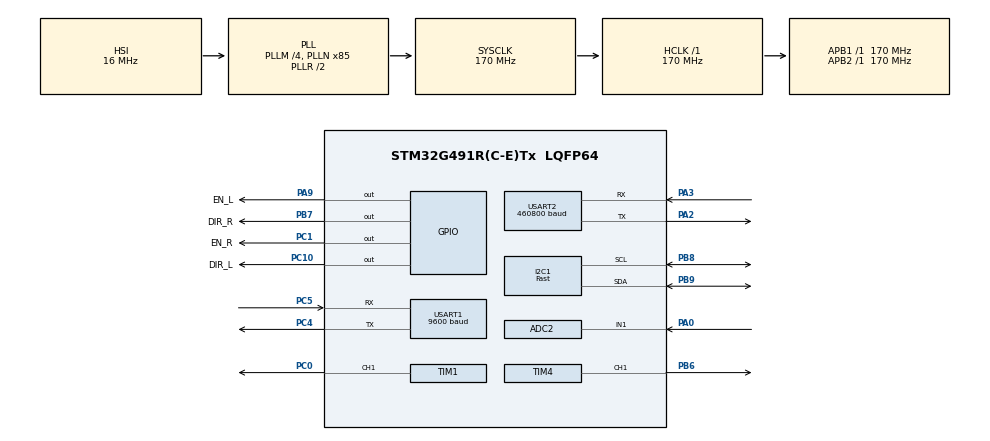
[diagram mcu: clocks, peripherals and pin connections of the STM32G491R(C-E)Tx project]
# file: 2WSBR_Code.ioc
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ADC2.Channel-0\#ChannelRegularConversion=ADC_CHANNEL_1
ADC2.NbrOfConversionFlag=1
ADC2.OffsetNumber-0\#ChannelRegularConversion=ADC_OFFSET_NONE
ADC2.Rank-0\#ChannelRegularConversion=1
ADC2.SamplingTime-0\#ChannelRegularConversion=ADC_SAMPLETIME_24CYCLES_5
Dma.Request0=USART2_TX
Dma.USART2_TX.0.Direction=DMA_MEMORY_TO_PERIPH
Dma.USART2_TX.0.EventEnable=DISABLE
Dma.USART2_TX.0.Instance=DMA1_Channel1
Dma.USART2_TX.0.MemDataAlignment=DMA_MDATAALIGN_BYTE
Dma.USART2_TX.0.MemInc=DMA_MINC_ENABLE
Dma.USART2_TX.0.Mode=DMA_NORMAL
Dma.USART2_TX.0.PeriphDataAlignment=DMA_PDATAALIGN_BYTE
Dma.USART2_TX.0.PeriphInc=DMA_PINC_DISABLE
Dma.USART2_TX.0.Polarity=HAL_DMAMUX_REQ_GEN_RISING
Dma.USART2_TX.0.Priority=DMA_PRIORITY_LOW
Dma.USART2_TX.0.RequestNumber=1
Dma.USART2_TX.0.SignalID=NONE
Dma.USART2_TX.0.SyncEnable=DISABLE
Dma.USART2_TX.0.SyncPolarity=HAL_DMAMUX_SYNC_NO_EVENT
Dma.USART2_TX.0.SyncRequestNumber=1
Dma.USART2_TX.0.SyncSignalID=NONE
I2C1.I2C_Speed_Mode=I2C_Fast
I2C1.Timing=0x40621236
Mcu.Family=STM32G4
Mcu.Name=STM32G491R(C-E)Tx
Mcu.Package=LQFP64
NVIC.DMA1_Channel1_IRQn=true\:0\:0\:false\:false\:true\:false\:true\:true
NVIC.PriorityGroup=NVIC_PRIORITYGROUP_4
PA0.Signal=SharedAnalog_PA0
PA2.Mode=Asynchronous
PA2.Signal=USART2_TX
PA3.Mode=Asynchronous
PA3.Signal=USART2_RX
PA9.GPIO_Label=EN_L
PA9.Signal=GPIO_Output
PB6.Signal=S_TIM4_CH1
PB7.GPIO_Label=DIR_R
PB7.Signal=GPIO_Output
PB8-BOOT0.Mode=I2C
PB8-BOOT0.Signal=I2C1_SCL
PB9.Mode=I2C
PB9.Signal=I2C1_SDA
PC0.Signal=S_TIM1_CH1
PC1.GPIO_Label=EN_R
PC1.Signal=GPIO_Output
PC10.GPIO_Label=DIR_L
PC10.Signal=GPIO_Output
PC4.Mode=Asynchronous
PC4.Signal=USART1_TX
PC5.Mode=Asynchronous
PC5.Signal=USART1_RX
ProjectManager.HeapSize=0x200
ProjectManager.StackSize=0x400
ProjectManager.TargetToolchain=STM32CubeIDE
RCC.ADC12Freq_Value=170000000
RCC.ADC345Freq_Value=170000000
RCC.AHBFreq_Value=170000000
RCC.APB1Freq_Value=170000000
RCC.APB1TimFreq_Value=170000000
RCC.APB2Freq_Value=170000000
RCC.APB2TimFreq_Value=170000000
RCC.CortexFreq_Value=170000000
RCC.EXTERNAL_CLOCK_VALUE=12288000
RCC.HCLKFreq_Value=170000000
RCC.HSE_VALUE=8000000
RCC.HSI48_VALUE=48000000
RCC.HSI_VALUE=16000000
RCC.LSE_VALUE=32768
RCC.PLLM=RCC_PLLM_DIV4
RCC.PLLN=85
RCC.SYSCLKFreq_VALUE=170000000
RCC.SYSCLKSource=RCC_SYSCLKSOURCE_PLLCLK
RCC.VCOOutputFreq_Value=340000000
SH.S_TIM1_CH1.0=TIM1_CH1,PWM Generation1 CH1
SH.S_TIM4_CH1.0=TIM4_CH1,PWM Generation1 CH1
SH.SharedAnalog_PA0.0=ADC1_IN1
SH.SharedAnalog_PA0.1=ADC2_IN1,IN1-Single-Ended
TIM1.Channel-PWM\ Generation1\ CH1=TIM_CHANNEL_1
TIM1.PeriodNoDither=999
TIM1.Prescaler=169
TIM1.PulseNoDither_1=500
TIM4.Channel-PWM\ Generation1\ CH1=TIM_CHANNEL_1
TIM4.PeriodNoDither=999
TIM4.Prescaler=169
TIM4.PulseNoDither_1=500
TIM6.Prescaler=169
USART1.BaudRate=9600
USART1.VirtualMode-Asynchronous=VM_ASYNC
USART2.BaudRate=460800
USART2.VirtualMode-Asynchronous=VM_ASYNC
VP_SYS_VS_DBSignals.Mode=DisableDeadBatterySignals
VP_TIM1_VS_ClockSourceINT.Mode=Internal
VP_TIM4_VS_ClockSourceINT.Mode=Internal
VP_TIM6_VS_ClockSourceINT.Mode=Enable_Timer
board=custom

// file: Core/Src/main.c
/* USER CODE BEGIN Header */
/**
  ******************************************************************************
  * @file           : main.c
  * @brief          : Main program body
  ******************************************************************************
  */
/* USER CODE END Header */
#include "main.h"
#include "adc.h"
#include "dma.h"
#include "i2c.h"
#include "tim.h"
#include "usart.h"
#include "gpio.h"
#include <stdlib.h>

/* USER CODE BEGIN Includes */
#include <math.h>
#include <stdio.h>
/* USER CODE END Includes */

/* USER CODE BEGIN PD */
/* MPU6050 Configuration */
#define MPU6050_ADDR       (0x68 << 1)
#define WHO_AM_I_REG       0x75
#define PWR_MGMT_1_REG     0x6B
#define ACCEL_XOUT_H_REG   0x3B

/* Operational Modes */
#define MODE_BALANCING      0
#define MODE_STEP_RESPONSE  1
#define MODE_SWEEP          2
#define MODE_FALL_TEST      3

/* Filter & Control Constants */
#define ALPHA           0.985f   // Optimized to prevent scale-factor drift leaning
#define DT              0.005f
#define RAD_TO_DEG      57.29577951f
#define ACCEL_SCALE     16384.0f
#define GYRO_SCALE      131.0f
#define DIVIDER_RATIO   6.0f
/* USER CODE END PD */

/* USER CODE BEGIN PV */
/* Sensor Data Buffers */
uint8_t rx_data[14];
int16_t raw_acc_x, raw_acc_y, raw_acc_z;
int16_t raw_gyro_x, raw_gyro_y, raw_gyro_z;
float estimated_pitch = 0.0f;
static float gyro_bias_x = 0.0f;
static float pitch_zero  = 0.0f;

/* Inner Loop: Pitch PID Parameters */
float Kp = 800.0f;
float Ki = 10.0f;
float Kd = 33.0f;

float pid_error = 0.0f;
float previous_error = 0.0f;
float pid_integral = 0.0f;
float pid_output = 0.0f;

/* Outer Loop: Velocity Control Parameters */
float target_angle = 0.0f;
float speed_integral = 0.0f;
float speed_Kp = 0.0009f;
float speed_Ki = 0.0005f;
static float chassis_velocity = 0.0f; // Low-pass filtered motor output

/* System States */
float battery_voltage = 0.0f;
float current_speed = 0.0f;
int test_mode = MODE_BALANCING;
uint32_t test_timer = 0;
float test_speed = 0.0f;

static volatile uint8_t uart_tx_busy = 0;
uint16_t telemetry_counter = 0;
uint16_t loop_exec_time_us = 0;
uint16_t loop_period_us = 0;
uint16_t last_loop_stamp_us = 0;
/* USER CODE END PV */

void SystemClock_Config(void);

/* USER CODE BEGIN 0 */

void MPU6050_Init(void)
{
    uint8_t data = 0x00;
    HAL_I2C_Mem_Write(&hi2c1, MPU6050_ADDR, PWR_MGMT_1_REG, 1, &data, 1, 1000);
}

HAL_StatusTypeDef i2c_status;

void MPU6050_Read(void)
{
    i2c_status = HAL_I2C_Mem_Read(&hi2c1, MPU6050_ADDR, ACCEL_XOUT_H_REG, 1, rx_data, 14, 2);

    if (i2c_status == HAL_OK) {
        raw_acc_x  = (int16_t)(rx_data[0]  << 8 | rx_data[1]);
        raw_acc_y  = (int16_t)(rx_data[2]  << 8 | rx_data[3]);
        raw_acc_z  = (int16_t)(rx_data[4]  << 8 | rx_data[5]);

        raw_gyro_x = (int16_t)(rx_data[8]  << 8 | rx_data[9]);
        raw_gyro_y = (int16_t)(rx_data[10] << 8 | rx_data[11]);
        raw_gyro_z = (int16_t)(rx_data[12] << 8 | rx_data[13]);
    } else {
        /* Kill motor outputs on sensor failure */
        htim1.Instance->CCR1 = 0;
        htim4.Instance->CCR1 = 0;
    }
}

static void IMU_CalibrateAtRest(void)
{
    const int N = 500;
    float gyro_sum = 0.0f;
    float acc_sum  = 0.0f;

    for (int i = 0; i < N; i++)
    {
        MPU6050_Read();
        gyro_sum += -((float)raw_gyro_x / GYRO_SCALE);
        acc_sum  += -(atan2f((float)raw_acc_y, (float)raw_acc_z) * RAD_TO_DEG);
        HAL_Delay(2); // Wait 2ms between reads
    }

    gyro_bias_x = gyro_sum / N;
    pitch_zero  = acc_sum / N;

    /* The controller now sees this exact resting position as 0.0 degrees */
    estimated_pitch = 0.0f;
}

float update_complementary_filter(float acc_pitch, float gyro_rate, float dynamic_dt)
{
    estimated_pitch = ALPHA * (estimated_pitch + gyro_rate * dynamic_dt) + (1.0f - ALPHA) * acc_pitch;
    return estimated_pitch;
}

float calculate_PID(float current_pitch, float gyro_rate, float dynamic_dt)
{
    pid_error = current_pitch - target_angle;
    float P_out = Kp * pid_error;

    /* 1. Integral: Use hardware-measured dt for mathematically perfect accumulation */
    pid_integral += pid_error * dynamic_dt;
    if (pid_integral > 400.0f)  pid_integral = 400.0f;
    if (pid_integral < -400.0f) pid_integral = -400.0f;
    float I_out = Ki * pid_integral;

    /* 2. Derivative: Direct Gyro Feedback + EMA Low-Pass Filter (PID-F) */
    static float D_filtered = 0.0f;
    float D_raw = Kd * gyro_rate;

    // Beta = 0.4 ensures minimal phase-lag while still smoothing mechanical impacts
    const float beta = 0.4f;
    D_filtered = (beta * D_filtered) + ((1.0f - beta) * D_raw);

    pid_output = P_out + I_out + D_filtered;
    return pid_output;
}

void set_motor_speed(float target_speed)
{
    if (isnan(target_speed) || isinf(target_speed)) {
        htim1.Instance->CCR1 = 0;
        htim4.Instance->CCR1 = 0;
        return;
    }

    float compensated_speed = target_speed;

    /* Clamp absolute limits */
    if (compensated_speed > 4000.0f)  compensated_speed = 4000.0f;
    if (compensated_speed < -4000.0f) compensated_speed = -4000.0f;

    /* --- 1. SLEW RATE LIMITER --- */
    static float slewed_speed = 0.0f;
    float max_change_per_loop = 80.0f;
    float instant_kick_speed  = 75.0f;

    if (slewed_speed == 0.0f && compensated_speed > instant_kick_speed) {
        slewed_speed = instant_kick_speed;
    } else if (slewed_speed == 0.0f && compensated_speed < -instant_kick_speed) {
        slewed_speed = -instant_kick_speed;
    } else {
        if (compensated_speed > slewed_speed + max_change_per_loop) {
            slewed_speed += max_change_per_loop;
        } else if (compensated_speed < slewed_speed - max_change_per_loop) {
            slewed_speed -= max_change_per_loop;
        } else {
            slewed_speed = compensated_speed;
        }
    }

    float applied_speed = slewed_speed;

    /* --- 2. DIRECTION & HARDWARE TIMERS --- */
    if (applied_speed >= 0) {
        HAL_GPIO_WritePin(DIR_L_GPIO_Port, DIR_L_Pin, GPIO_PIN_RESET);
        HAL_GPIO_WritePin(DIR_R_GPIO_Port, DIR_R_Pin, GPIO_PIN_SET);
    } else {
        HAL_GPIO_WritePin(DIR_L_GPIO_Port, DIR_L_Pin, GPIO_PIN_SET);
        HAL_GPIO_WritePin(DIR_R_GPIO_Port, DIR_R_Pin, GPIO_PIN_RESET);
        applied_speed = -applied_speed; // Absolute value for timer calculation
    }

    /* --- 3. CRITICAL 16-BIT TIMER CUTOFF ---
       The 16-bit timer physically CANNOT step slower than 15.26 Hz.
       We cut power cleanly below 15.5 Hz to allow the robot to stand still
       and mathematically prevent an 884 Hz integer overflow spike. */
    if (applied_speed < 15.5f) {
        htim1.Instance->CCR1 = 0;
        htim4.Instance->CCR1 = 0;
        return;
    }

    uint32_t timer_arr = (uint32_t)(1000000.0f / applied_speed) - 1;

    // Failsafe Guard against any residual overflows
    if (timer_arr > 65535) {
        timer_arr = 65535;
    }

    __disable_irq();
    htim1.Instance->ARR  = timer_arr;
    htim1.Instance->CCR1 = timer_arr / 2;

    htim4.Instance->ARR  = timer_arr;
    htim4.Instance->CCR1 = timer_arr / 2;
    __enable_irq();
}
/* USER CODE END 0 */

int main(void)
{

  /* MCU Configuration--------------------------------------------------------*/

  /* Reset of all peripherals, Initializes the Flash interface and the Systick. */
  HAL_Init();

  /* Configure the system clock */
  SystemClock_Config();

  /* Initialize all configured peripherals */
  MX_GPIO_Init();
  MX_DMA_Init();
  MX_I2C1_Init();
  MX_TIM1_Init();
  MX_TIM4_Init();
  MX_USART2_UART_Init();
  MX_ADC2_Init();
  MX_TIM6_Init();
  MX_USART1_UART_Init();

  /* USER CODE BEGIN 2 */
  HAL_TIM_Base_Start(&htim6);
  __HAL_TIM_SET_COUNTER(&htim6, 0);
  last_loop_stamp_us = 0;

  HAL_Delay(100);
  MPU6050_Init();
  IMU_CalibrateAtRest();

  /* Initialize Motor Driver Pins */
  HAL_GPIO_WritePin(DIR_L_GPIO_Port, DIR_L_Pin, GPIO_PIN_SET);
  HAL_GPIO_WritePin(DIR_R_GPIO_Port, DIR_R_Pin, GPIO_PIN_RESET);

  /* Default enable state at boot */
  HAL_GPIO_WritePin(EN_L_GPIO_Port, EN_L_Pin, GPIO_PIN_RESET);
  HAL_GPIO_WritePin(EN_R_GPIO_Port, EN_R_Pin, GPIO_PIN_RESET);

  /* Enable shadow registers */
  htim1.Instance->CR1 |= TIM_CR1_ARPE;
  htim4.Instance->CR1 |= TIM_CR1_ARPE;

  /* Sync counters */
  htim1.Instance->CNT = 0;
  htim4.Instance->CNT = 0;

  HAL_TIM_PWM_Start(&htim1, TIM_CHANNEL_1);
  HAL_TIM_PWM_Start(&htim4, TIM_CHANNEL_1);

  // Telemetry Priority
  static uint8_t batt_div = 0;   // every 10 loops = 50 ms
  static char bt_cmd_buf[32];
  static uint8_t bt_cmd_idx = 0;

  /* USER CODE END 2 */

  /* Infinite loop */
  /* USER CODE BEGIN WHILE */
  while (1)
  {
      uint16_t now = __HAL_TIM_GET_COUNTER(&htim6);
      uint16_t elapsed = (uint16_t)(now - last_loop_stamp_us);

      if (elapsed >= 5000)   // 5 ms loop
      {
          loop_period_us = elapsed;
          last_loop_stamp_us = now;

          uint16_t exec_start_us = __HAL_TIM_GET_COUNTER(&htim6);

          /* --- Battery ADC --- */
          HAL_ADC_Start(&hadc2);
          if (HAL_ADC_PollForConversion(&hadc2, 10) == HAL_OK)
          {
              uint32_t raw_adc = HAL_ADC_GetValue(&hadc2);
              battery_voltage = ((float)raw_adc / 4095.0f) * 3.3f * DIVIDER_RATIO;
          }
          HAL_ADC_Stop(&hadc2);

          /* --- IMU Read --- */
	      MPU6050_Read();

          // Calculate dynamic dt based on the actual hardware timer
          float dynamic_dt = loop_period_us * 1e-6f;

          // Subtract the offsets calculated during startup
          float acc_pitch = -(atan2f((float)raw_acc_y, (float)raw_acc_z) * RAD_TO_DEG) - pitch_zero;
          float gyro_rate = -((float)raw_gyro_x / GYRO_SCALE) - gyro_bias_x;

          /* --- Sensor Fusion --- */
          update_complementary_filter(acc_pitch, gyro_rate, dynamic_dt);

          /* --- Mode Handling --- */
          switch (test_mode)
          {
              case MODE_BALANCING:
              {
                  HAL_GPIO_WritePin(EN_L_GPIO_Port, EN_L_Pin, GPIO_PIN_RESET);
                  HAL_GPIO_WritePin(EN_R_GPIO_Port, EN_R_Pin, GPIO_PIN_RESET);

                  /* --- 1. OUTER LOOP: Velocity Cascade Control --- */
                  // Low-pass filter the motor output to estimate steady chassis velocity
                  chassis_velocity = (0.75f * chassis_velocity) + (0.25f * pid_output);

                  // PI Controller to keep velocity at 0
                  float target_speed = 0.0f;
                  float speed_error = target_speed - chassis_velocity;

                  speed_integral += speed_error * dynamic_dt;

                  // Clamp the integral so the robot doesn't lean too aggressively
                  if (speed_integral > 8000.0f)  speed_integral = 8000.0f;
                  if (speed_integral < -8000.0f) speed_integral = -8000.0f;

                  // Calculate the new target lean angle required to stop the drift
                  target_angle = (speed_error * speed_Kp) + (speed_integral * speed_Ki);

                  // Safety clamp: Never let the speed loop command more than a 2.5 degree lean
                  if (target_angle > 2.5f)  target_angle = 2.5f;
                  if (target_angle < -2.5f) target_angle = -2.5f;

                  /* --- 2. INNER LOOP: Pitch Control --- */
                  calculate_PID(estimated_pitch, gyro_rate, dynamic_dt);
                  set_motor_speed(pid_output);
                  break;
              }

              case MODE_STEP_RESPONSE:
              {
                  HAL_GPIO_WritePin(EN_L_GPIO_Port, EN_L_Pin, GPIO_PIN_RESET);
                  HAL_GPIO_WritePin(EN_R_GPIO_Port, EN_R_Pin, GPIO_PIN_RESET);

                  test_timer++;
                  if (test_timer < 100)          test_speed = 0.0f;
                  else if (test_timer < 1000)    test_speed += 5.0f;
                  else
                  {
                      test_speed = 0.0f;
                      test_timer = 0;
                  }

                  set_motor_speed(test_speed);
                  pid_output = test_speed;
                  break;
              }

              case MODE_FALL_TEST:
              {
                  pid_output = 0.0f;
                  htim1.Instance->CCR1 = 0;
                  htim4.Instance->CCR1 = 0;
                  HAL_GPIO_WritePin(EN_L_GPIO_Port, EN_L_Pin, GPIO_PIN_SET);
                  HAL_GPIO_WritePin(EN_R_GPIO_Port, EN_R_Pin, GPIO_PIN_SET);
                  break;
              }

              default:
                  break;
          }

          loop_exec_time_us = (uint16_t)(__HAL_TIM_GET_COUNTER(&htim6) - exec_start_us);

          /* =========================================================
             USB / MATLAB telemetry on USART2 @ 460800
             ========================================================= */

          /* A packet: every 5 ms (critical) */
          {
              char usbA[64];
              int len = snprintf(usbA, sizeof(usbA),
                                 "A,%.3f,%.3f,%.3f,%.3f\n",
                                 acc_pitch, gyro_rate, estimated_pitch, pid_output);
              if (len > 0)
              {
                  HAL_UART_Transmit(&huart2, (uint8_t *)usbA, len, 2);
              }
          }

          /* B packet: every 5 ms (timing) */
          {
              char usbB[32];
              int len = snprintf(usbB, sizeof(usbB),
                                 "B,%u,%u\n",
                                 loop_period_us, loop_exec_time_us);
              if (len > 0)
              {
                  HAL_UART_Transmit(&huart2, (uint8_t *)usbB, len, 2);
              }
          }

          /* C packet: every 50 ms (battery) */
          if (++batt_div >= 10)
          {
              batt_div = 0;

              char usbC[20];
              int len = snprintf(usbC, sizeof(usbC),
                                 "C,%.2f\n",
                                 battery_voltage);
              if (len > 0)
              {
                  HAL_UART_Transmit(&huart2, (uint8_t *)usbC, len, 2);
              }
          }

          /* =========================================================
             USART1 (Bluetooth Tuning)
             ========================================================= */

          uint8_t ch;

          /* Drain ALL available characters from the UART RX register */
          while (HAL_UART_Receive(&huart1, &ch, 1, 0) == HAL_OK)
          {
              if (ch == '\n' || ch == '\r')
              {
                  bt_cmd_buf[bt_cmd_idx] = '\0'; // Null terminate

                  if (bt_cmd_buf[0] == 'P') {
                      Kp = atof(&bt_cmd_buf[1]);
                      pid_integral = 0.0f; // Reset integral to prevent violent jumps
                  }
                  else if (bt_cmd_buf[0] == 'I') {
                      Ki = atof(&bt_cmd_buf[1]);
                      pid_integral = 0.0f;
                  }
                  else if (bt_cmd_buf[0] == 'D') {
                      Kd = atof(&bt_cmd_buf[1]);
                  }

                  bt_cmd_idx = 0; // Reset index for next command
              }
              else if (bt_cmd_idx < sizeof(bt_cmd_buf) - 1)
              {
                  bt_cmd_buf[bt_cmd_idx++] = (char)ch;
              }
              else
              {
                  bt_cmd_idx = 0; // Buffer overflow protection, reset
              }
          }
      }
  }
  /* USER CODE END WHILE */

}

void SystemClock_Config(void)
{
  RCC_OscInitTypeDef RCC_OscInitStruct = {0};
  RCC_ClkInitTypeDef RCC_ClkInitStruct = {0};

  /** Configure the main internal regulator output voltage
  */
  HAL_PWREx_ControlVoltageScaling(PWR_REGULATOR_VOLTAGE_SCALE1_BOOST);

  /** Initializes the RCC Oscillators according to the specified parameters
  * in the RCC_OscInitTypeDef structure.
  */
  RCC_OscInitStruct.OscillatorType = RCC_OSCILLATORTYPE_HSI;
  RCC_OscInitStruct.HSIState = RCC_HSI_ON;
  RCC_OscInitStruct.HSICalibrationValue = RCC_HSICALIBRATION_DEFAULT;
  RCC_OscInitStruct.PLL.PLLState = RCC_PLL_ON;
  RCC_OscInitStruct.PLL.PLLSource = RCC_PLLSOURCE_HSI;
  RCC_OscInitStruct.PLL.PLLM = RCC_PLLM_DIV4;
  RCC_OscInitStruct.PLL.PLLN = 85;
  RCC_OscInitStruct.PLL.PLLP = RCC_PLLP_DIV2;
  RCC_OscInitStruct.PLL.PLLQ = RCC_PLLQ_DIV2;
  RCC_OscInitStruct.PLL.PLLR = RCC_PLLR_DIV2;
  if (HAL_RCC_OscConfig(&RCC_OscInitStruct) != HAL_OK)
  {
    Error_Handler();
  }

  /** Initializes the CPU, AHB and APB buses clocks
  */
  RCC_ClkInitStruct.ClockType = RCC_CLOCKTYPE_HCLK|RCC_CLOCKTYPE_SYSCLK
                              |RCC_CLOCKTYPE_PCLK1|RCC_CLOCKTYPE_PCLK2;
  RCC_ClkInitStruct.SYSCLKSource = RCC_SYSCLKSOURCE_PLLCLK;
  RCC_ClkInitStruct.AHBCLKDivider = RCC_SYSCLK_DIV1;
  RCC_ClkInitStruct.APB1CLKDivider = RCC_HCLK_DIV1;
  RCC_ClkInitStruct.APB2CLKDivider = RCC_HCLK_DIV1;

  if (HAL_RCC_ClockConfig(&RCC_ClkInitStruct, FLASH_LATENCY_4) != HAL_OK)
  {
    Error_Handler();
  }
}

/* USER CODE BEGIN 4 */
void HAL_UART_TxCpltCallback(UART_HandleTypeDef *huart)
{
    if (huart->Instance == USART2) {
        uart_tx_busy = 0;
    }
}
/* USER CODE END 4 */

void Error_Handler(void)
{
  __disable_irq();
  while (1)
  {
  }
}
